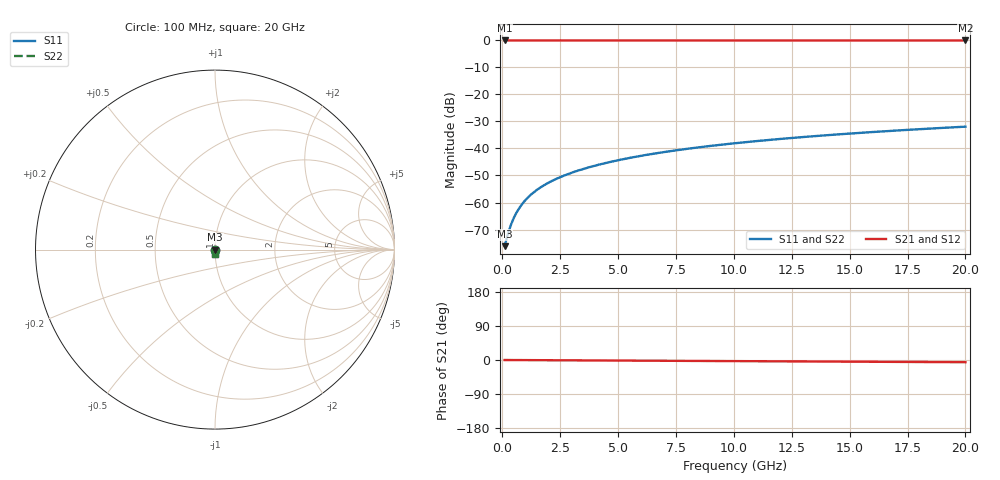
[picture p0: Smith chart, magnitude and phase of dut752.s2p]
! Touchstone file exported from HFSS 2026.1.0
!  File:  C:/ffzhzh/LocalFiles/Ansys_Project_Files/temp_train_TSV_752_1783183034_22436.aedt
!  Generated:  12:38:46 AM Jul  5, 2026
!  Design:  TSV
!  Project:  temp_train_TSV_752_1783183034_22436
! Variables:
!  h_bsmrdl = 2um
!  h_ox = 20um
!  h_rdl = 5um
!  h_sub = 58.09um
!  h_tmrdl = 5um
!  h_tsv = 58.09um
!  h_via = 3um
!  l_bsmrdl = 300um
!  l_sub = 417.46um
!  l_tmrdl = 200um
!  m_sub = 200um
!  pitch = 27.81um
!  r_tsv = 8.73um
!  s_tmrdl = 10um
!  w_bsmrdl = 18um
!  w_sub = 500um
!  w_tmrdl = 12um
!  x_tsv_center1 = 206um
!  x_tsv_center2 = 524um
!  x_tsv_center3 = 736um
!  x_tsv_center4 = 1054um
!  x_tsv_center5 = 1266um
!  x_tsv_center6 = 1584um
# GHz S MA R 50.000000
! Terminal data exported
! Port[1] = TSV1_1_T1
! Port[2] = TSV1_1_T2
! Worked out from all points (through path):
!   200 points, 100 MHz to 20 GHz, reference 50 ohm
!   highest |S21| = 0.00 dB at 100 MHz (marker M1); lowest = 0.0 dB at 20 GHz (marker M2)
!   lowest |S11| = -76.2 dB at 100 MHz (marker M3), VSWR 1.00, Z = 50 - j0.00852 ohm
!   |S11| at or under -10 dB: start of sweep to end of sweep
!   |S22| runs from -76.2 to -31.9 dB; largest |S21 - S12| = 2.3e-15
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0.1  0.0001555 -33.2  0.9999 -0.0  0.9999 -0.0  0.0001555 -33.2
! Gamma 0 0 0 0
! Port Impedance 50 0 50 0
0.2  0.0002253 -50.6  0.9999 -0.1  0.9999 -0.1  0.0002253 -50.6
0.3  0.0003138 -58.9  0.9998 -0.1  0.9998 -0.1  0.0003138 -58.9
0.4  0.0004134 -63.6  0.9998 -0.1  0.9998 -0.1  0.0004134 -63.6
0.5  0.0005205 -66.7  0.9998 -0.2  0.9998 -0.2  0.0005205 -66.7
0.6  0.000633 -68.9  0.9998 -0.2  0.9998 -0.2  0.000633 -68.9
0.8  0.0008676 -72.3  0.9997 -0.2  0.9997 -0.2  0.0008676 -72.3
1.1  0.00123 -75.7  0.9997 -0.3  0.9997 -0.3  0.00123 -75.7
1.3  0.001474 -77.3  0.9997 -0.4  0.9997 -0.4  0.001474 -77.3
1.5  0.001719 -78.6  0.9996 -0.5  0.9996 -0.5  0.001719 -78.6
1.8  0.002086 -80.1  0.9996 -0.5  0.9996 -0.5  0.002086 -80.1
2.1  0.002454 -81.3  0.9996 -0.6  0.9996 -0.6  0.002454 -81.3
2.7  0.003191 -82.8  0.9996 -0.8  0.9996 -0.8  0.003191 -82.8
3.5  0.004181 -84.2  0.9995 -1.0  0.9995 -1.0  0.004181 -84.2
4.2  0.005055 -85.1  0.9994 -1.2  0.9994 -1.2  0.005055 -85.0
5  0.006061 -85.8  0.9994 -1.5  0.9994 -1.5  0.006061 -85.8
6.8  0.008347 -87.2  0.9993 -2.0  0.9993 -2.0  0.008347 -87.2
8.3  0.01027 -88.1  0.9992 -2.4  0.9992 -2.4  0.01027 -88.1
10.1  0.01258 -89.0  0.9991 -3.0  0.9991 -3.0  0.01258 -89.0
13.4  0.01682 -90.6  0.9989 -3.9  0.9989 -3.9  0.01682 -90.6
16.7  0.02108 -91.9  0.9987 -4.9  0.9987 -4.9  0.02108 -91.9
20  0.02535 -93.1  0.9985 -5.8  0.9985 -5.8  0.02535 -93.1
